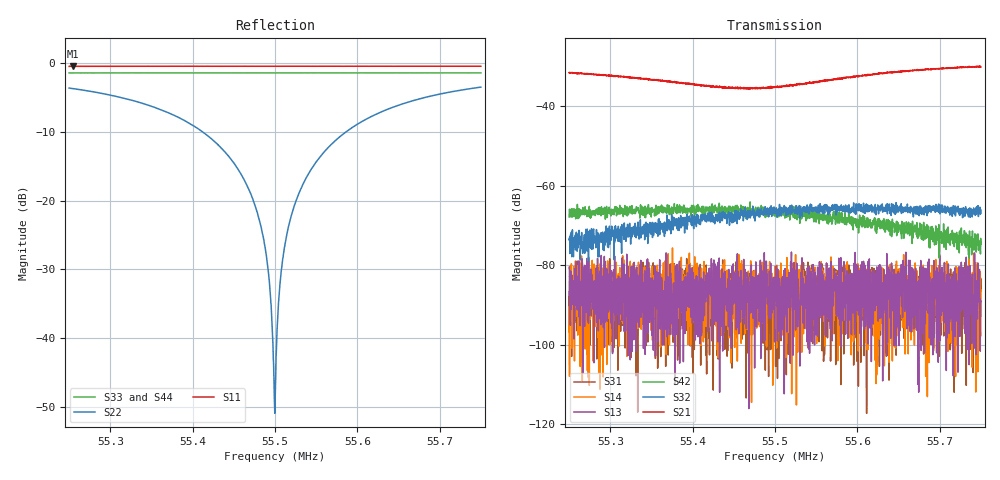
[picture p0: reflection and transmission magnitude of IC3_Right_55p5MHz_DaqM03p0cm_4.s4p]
#  HZ  S  DB  R  50.00
! Rohde & Schwarz Vector Network Analyzer
! Rohde-Schwarz,ZNB8-4Port,1311601044102961,2.82
! Created: UTC 2/13/2019, 12:10:19 PM
! freq[Hz]  db:S11  ang:S11  db:S12  ang:S12  db:S13  ang:S13  db:S14  ang:S14
!  db:S21  ang:S21  db:S22  ang:S22  db:S23  ang:S23  db:S24  ang:S24
!  db:S31  ang:S31  db:S32  ang:S32  db:S33  ang:S33  db:S34  ang:S34
!  db:S41  ang:S41  db:S42  ang:S42  db:S43  ang:S43  db:S44  ang:S44
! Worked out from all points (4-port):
!   2001 points, 55.25 MHz to 55.75 MHz, reference 50 ohm
!   strongest paths, dB at 55.25 MHz, 55.375 MHz, 55.5 MHz, 55.625 MHz, 55.75 MHz:
!     S21: -31.6, -33.9, -35.3, -31.9, -30.2
!     S32: -73.4, -70.8, -66.8, -65.7, -67.0
!     S42: -67.8, -66.3, -66.4, -70.0, -74.7
!     S13: -80.5, -87.3, -89.0, -88.5, -89.0
!     S14: -96.8, -84.8, -80.3, -85.0, -97.7
!     S31: -87.9, -87.6, -84.3, -85.7, -86.4
!   lowest |S11| = -0.5 dB at 55.2542 MHz (marker M1), VSWR 38.05, Z = 2.33 + j43.9 ohm
!   |S11| at or under -10 dB: nowhere
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5.525e7  -0.45 97.4  -31.71 70.8  -80.53 33.2  -96.75 -26.2
         -31.61 70.8  -3.61 -151.3  -77.17 -27.2  -66.03 -158.7
         -87.95 -0.9  -73.44 -21.0  -1.41 24.8  -84.40 32.6
         -87.41 -131.0  -67.85 -170.1  -96.65 141.2  -1.43 31.3
5.525425e7  -0.46 97.3  -31.60 70.4  -86.83 -108.2  -88.81 -167.4
            -31.73 69.9  -3.68 -152.1  -74.66 -16.0  -67.92 -164.3
            -87.64 96.0  -75.34 -15.0  -1.41 24.7  -83.63 167.3
            -81.73 112.7  -66.69 -169.7  -84.02 -68.5  -1.43 31.2
5.545025e7  -0.44 93.6  -35.44 79.8  -86.59 -4.4  -81.47 166.4
            -35.48 79.0  -14.54 161.9  -67.02 -49.3  -65.55 162.9
            -85.41 -138.7  -67.32 -51.0  -1.40 22.2  -96.60 -175.1
            -83.15 -10.3  -66.30 155.2  -91.35 -9.7  -1.42 28.8
5.549975e7  -0.44 92.7  -35.11 92.6  -88.96 26.2  -86.79 -48.6
            -35.25 91.5  -50.92 55.9  -66.42 -61.0  -66.12 146.2
            -94.61 36.2  -66.76 -61.6  -1.40 21.6  -89.81 11.1
            -94.59 1.6  -66.75 136.7  -84.88 110.1  -1.43 28.2
5.5514e7  -0.44 92.4  -34.92 94.1  -93.05 -159.4  -89.43 -117.4
          -34.93 95.3  -25.09 -33.0  -66.88 -65.4  -67.81 143.5
          -85.75 175.8  -65.47 -63.7  -1.40 21.4  -87.78 -13.8
          -79.28 -165.1  -67.32 141.5  -85.22 -73.7  -1.42 28.0
5.555025e7  -0.44 91.8  -33.82 99.5  -97.55 -4.3  -85.13 -44.2
            -33.96 99.3  -14.30 -46.2  -65.72 -81.5  -67.40 133.3
            -86.08 -67.2  -66.61 -71.0  -1.40 21.0  -99.78 105.3
            -93.56 -55.6  -68.11 132.1  -107.57 -63.8  -1.42 27.5
5.575e7  -0.43 88.1  -29.99 90.6  -89.01 -109.6  -97.70 -71.7
         -30.18 89.8  -3.48 -94.1  -67.40 -113.1  -73.73 84.6
         -86.38 65.4  -66.97 -120.7  -1.40 18.5  -86.22 75.9
         -96.58 -78.1  -74.73 119.2  -93.12 -143.4  -1.42 25.0
